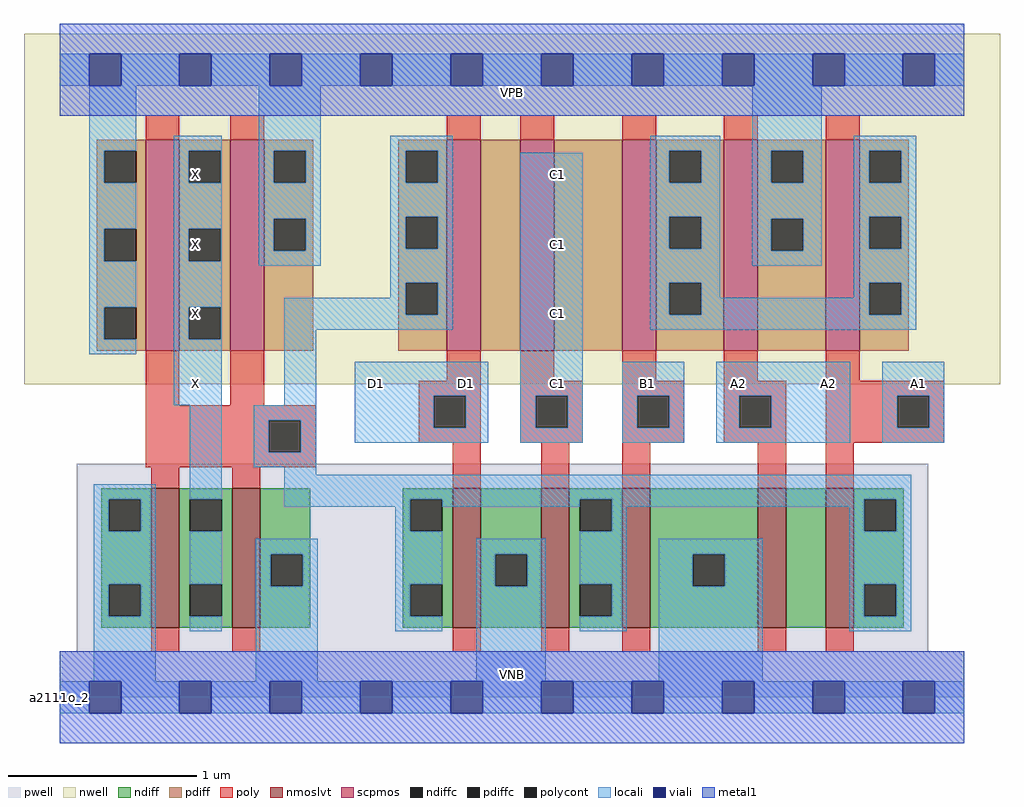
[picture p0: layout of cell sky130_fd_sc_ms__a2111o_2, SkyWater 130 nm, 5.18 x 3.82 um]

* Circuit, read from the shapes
.subckt sky130_fd_sc_ms__a2111o_2 A1 A2 B1 C1 D1 VGND VNB VPB VPWR X
XM1 X n1 VGND VNB sky130_fd_pr__nfet_01v8_lvt w=0.74 l=0.15 m=2
XM2 VGND D1 n1 VNB sky130_fd_pr__nfet_01v8_lvt w=0.74 l=0.15
XM3 n1 C1 VGND VNB sky130_fd_pr__nfet_01v8_lvt w=0.74 l=0.15
XM4 VGND B1 n1 VNB sky130_fd_pr__nfet_01v8_lvt w=0.74 l=0.15
XM5 n2 A2 VGND VNB sky130_fd_pr__nfet_01v8_lvt w=0.74 l=0.15
XM6 n1 A1 n2 VNB sky130_fd_pr__nfet_01v8_lvt w=0.74 l=0.15
XM7 X n1 VPWR VPB sky130_fd_pr__pfet_01v8 w=1.12 l=0.18 m=2
XM8 n3 D1 n1 VPB sky130_fd_pr__pfet_01v8 w=1.12 l=0.18
XM9 n4 C1 n3 VPB sky130_fd_pr__pfet_01v8 w=1.12 l=0.18
XM10 n5 B1 n4 VPB sky130_fd_pr__pfet_01v8 w=1.12 l=0.18
XM11 VPWR A2 n5 VPB sky130_fd_pr__pfet_01v8 w=1.12 l=0.18
XM12 n5 A1 VPWR VPB sky130_fd_pr__pfet_01v8 w=1.12 l=0.18
.ends

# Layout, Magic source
magic
tech sky130A
magscale 1 2
<< nwell >>
rect -38 332 998 704
<< pwell >>
rect 18 49 922 248
rect 0 0 960 49
<< scpmos >>
rect 91 368 127 592
rect 181 368 217 592
rect 411 368 447 592
rect 489 368 525 592
rect 597 368 633 592
rect 705 368 741 592
rect 813 368 849 592
<< nmoslvt >>
rect 97 74 127 222
rect 183 74 213 222
rect 417 74 447 222
rect 511 74 541 222
rect 597 74 627 222
rect 741 74 771 222
rect 813 74 843 222
<< ndiff >>
rect 44 210 97 222
rect 44 176 52 210
rect 86 176 97 210
rect 44 120 97 176
rect 44 86 52 120
rect 86 86 97 120
rect 44 74 97 86
rect 127 210 183 222
rect 127 176 138 210
rect 172 176 183 210
rect 127 120 183 176
rect 127 86 138 120
rect 172 86 183 120
rect 127 74 183 86
rect 213 152 266 222
rect 213 118 224 152
rect 258 118 266 152
rect 213 74 266 118
rect 364 210 417 222
rect 364 176 372 210
rect 406 176 417 210
rect 364 120 417 176
rect 364 86 372 120
rect 406 86 417 120
rect 364 74 417 86
rect 447 152 511 222
rect 447 118 462 152
rect 496 118 511 152
rect 447 74 511 118
rect 541 210 597 222
rect 541 176 552 210
rect 586 176 597 210
rect 541 120 597 176
rect 541 86 552 120
rect 586 86 597 120
rect 541 74 597 86
rect 627 152 741 222
rect 627 118 672 152
rect 706 118 741 152
rect 627 74 741 118
rect 771 74 813 222
rect 843 210 896 222
rect 843 176 854 210
rect 888 176 896 210
rect 843 120 896 176
rect 843 86 854 120
rect 888 86 896 120
rect 843 74 896 86
<< pdiff >>
rect 39 580 91 592
rect 39 546 47 580
rect 81 546 91 580
rect 39 497 91 546
rect 39 463 47 497
rect 81 463 91 497
rect 39 414 91 463
rect 39 380 47 414
rect 81 380 91 414
rect 39 368 91 380
rect 127 580 181 592
rect 127 546 137 580
rect 171 546 181 580
rect 127 497 181 546
rect 127 463 137 497
rect 171 463 181 497
rect 127 414 181 463
rect 127 380 137 414
rect 171 380 181 414
rect 127 368 181 380
rect 217 580 269 592
rect 217 546 227 580
rect 261 546 269 580
rect 217 508 269 546
rect 217 474 227 508
rect 261 474 269 508
rect 217 368 269 474
rect 359 580 411 592
rect 359 546 367 580
rect 401 546 411 580
rect 359 510 411 546
rect 359 476 367 510
rect 401 476 411 510
rect 359 440 411 476
rect 359 406 367 440
rect 401 406 411 440
rect 359 368 411 406
rect 447 368 489 592
rect 525 368 597 592
rect 633 580 705 592
rect 633 546 647 580
rect 681 546 705 580
rect 633 510 705 546
rect 633 476 647 510
rect 681 476 705 510
rect 633 440 705 476
rect 633 406 647 440
rect 681 406 705 440
rect 633 368 705 406
rect 741 580 813 592
rect 741 546 755 580
rect 789 546 813 580
rect 741 508 813 546
rect 741 474 755 508
rect 789 474 813 508
rect 741 368 813 474
rect 849 580 901 592
rect 849 546 859 580
rect 893 546 901 580
rect 849 510 901 546
rect 849 476 859 510
rect 893 476 901 510
rect 849 440 901 476
rect 849 406 859 440
rect 893 406 901 440
rect 849 368 901 406
<< ndiffc >>
rect 52 176 86 210
rect 52 86 86 120
rect 138 176 172 210
rect 138 86 172 120
rect 224 118 258 152
rect 372 176 406 210
rect 372 86 406 120
rect 462 118 496 152
rect 552 176 586 210
rect 552 86 586 120
rect 672 118 706 152
rect 854 176 888 210
rect 854 86 888 120
<< pdiffc >>
rect 47 546 81 580
rect 47 463 81 497
rect 47 380 81 414
rect 137 546 171 580
rect 137 463 171 497
rect 137 380 171 414
rect 227 546 261 580
rect 227 474 261 508
rect 367 546 401 580
rect 367 476 401 510
rect 367 406 401 440
rect 647 546 681 580
rect 647 476 681 510
rect 647 406 681 440
rect 755 546 789 580
rect 755 474 789 508
rect 859 546 893 580
rect 859 476 893 510
rect 859 406 893 440
<< poly >>
rect 91 592 127 618
rect 181 592 217 618
rect 411 592 447 618
rect 489 592 525 618
rect 597 592 633 618
rect 705 592 741 618
rect 813 592 849 618
rect 91 310 127 368
rect 181 310 217 368
rect 411 336 447 368
rect 381 320 447 336
rect 91 294 272 310
rect 91 260 222 294
rect 256 260 272 294
rect 381 286 397 320
rect 431 286 447 320
rect 381 270 447 286
rect 489 336 525 368
rect 597 336 633 368
rect 705 336 741 368
rect 813 336 849 368
rect 489 320 555 336
rect 489 286 505 320
rect 539 286 555 320
rect 489 270 555 286
rect 597 320 663 336
rect 597 286 613 320
rect 647 286 663 320
rect 597 270 663 286
rect 705 320 771 336
rect 705 286 721 320
rect 755 286 771 320
rect 705 270 771 286
rect 91 244 272 260
rect 97 222 127 244
rect 183 222 213 244
rect 417 222 447 270
rect 511 222 541 270
rect 597 222 627 270
rect 741 222 771 270
rect 813 320 939 336
rect 813 286 889 320
rect 923 286 939 320
rect 813 270 939 286
rect 813 222 843 270
rect 97 48 127 74
rect 183 48 213 74
rect 417 48 447 74
rect 511 48 541 74
rect 597 48 627 74
rect 741 48 771 74
rect 813 48 843 74
<< polycont >>
rect 222 260 256 294
rect 397 286 431 320
rect 505 286 539 320
rect 613 286 647 320
rect 721 286 755 320
rect 889 286 923 320
<< locali >>
rect 0 649 31 683
rect 65 649 127 683
rect 161 649 223 683
rect 257 649 319 683
rect 353 649 415 683
rect 449 649 511 683
rect 545 649 607 683
rect 641 649 703 683
rect 737 649 799 683
rect 833 649 895 683
rect 929 649 960 683
rect 31 580 81 649
rect 31 546 47 580
rect 31 497 81 546
rect 31 463 47 497
rect 31 414 81 463
rect 31 380 47 414
rect 31 364 81 380
rect 121 580 172 596
rect 121 546 137 580
rect 171 546 172 580
rect 121 497 172 546
rect 121 463 137 497
rect 171 463 172 497
rect 121 414 172 463
rect 211 580 277 649
rect 211 546 227 580
rect 261 546 277 580
rect 211 508 277 546
rect 211 474 227 508
rect 261 474 277 508
rect 211 458 277 474
rect 351 580 417 596
rect 351 546 367 580
rect 401 546 417 580
rect 627 580 701 596
rect 351 510 417 546
rect 351 476 367 510
rect 401 476 417 510
rect 351 440 417 476
rect 351 424 367 440
rect 121 380 137 414
rect 171 380 172 414
rect 121 310 172 380
rect 238 406 367 424
rect 401 406 417 440
rect 238 390 417 406
rect 238 310 272 390
rect 36 210 102 226
rect 36 176 52 210
rect 86 176 102 210
rect 36 120 102 176
rect 36 86 52 120
rect 86 86 102 120
rect 36 17 102 86
rect 138 210 172 310
rect 206 294 272 310
rect 206 260 222 294
rect 256 260 272 294
rect 313 320 455 356
rect 313 286 397 320
rect 431 286 455 320
rect 313 270 455 286
rect 489 320 555 578
rect 627 546 647 580
rect 681 546 701 580
rect 627 510 701 546
rect 627 476 647 510
rect 681 476 701 510
rect 627 440 701 476
rect 735 580 809 649
rect 735 546 755 580
rect 789 546 809 580
rect 735 508 809 546
rect 735 474 755 508
rect 789 474 809 508
rect 735 458 809 474
rect 843 580 909 596
rect 843 546 859 580
rect 893 546 909 580
rect 843 510 909 546
rect 843 476 859 510
rect 893 476 909 510
rect 627 406 647 440
rect 681 424 701 440
rect 843 440 909 476
rect 843 424 859 440
rect 681 406 859 424
rect 893 406 909 440
rect 627 390 909 406
rect 489 286 505 320
rect 539 286 555 320
rect 489 270 555 286
rect 597 320 663 356
rect 597 286 613 320
rect 647 286 663 320
rect 597 270 663 286
rect 697 320 839 356
rect 697 286 721 320
rect 755 286 839 320
rect 697 270 839 286
rect 873 320 939 356
rect 873 286 889 320
rect 923 286 939 320
rect 873 270 939 286
rect 206 244 272 260
rect 238 236 272 244
rect 238 210 904 236
rect 238 202 372 210
rect 138 120 172 176
rect 356 176 372 202
rect 406 202 552 210
rect 138 70 172 86
rect 208 152 274 168
rect 208 118 224 152
rect 258 118 274 152
rect 208 17 274 118
rect 356 120 406 176
rect 586 202 854 210
rect 586 176 602 202
rect 356 86 372 120
rect 356 70 406 86
rect 442 152 516 168
rect 442 118 462 152
rect 496 118 516 152
rect 442 17 516 118
rect 552 120 602 176
rect 838 176 854 202
rect 888 176 904 210
rect 586 86 602 120
rect 552 70 602 86
rect 636 152 746 168
rect 636 118 672 152
rect 706 118 746 152
rect 636 17 746 118
rect 838 120 904 176
rect 838 86 854 120
rect 888 86 904 120
rect 838 70 904 86
rect 0 -17 31 17
rect 65 -17 127 17
rect 161 -17 223 17
rect 257 -17 319 17
rect 353 -17 415 17
rect 449 -17 511 17
rect 545 -17 607 17
rect 641 -17 703 17
rect 737 -17 799 17
rect 833 -17 895 17
rect 929 -17 960 17
<< viali >>
rect 31 649 65 683
rect 127 649 161 683
rect 223 649 257 683
rect 319 649 353 683
rect 415 649 449 683
rect 511 649 545 683
rect 607 649 641 683
rect 703 649 737 683
rect 799 649 833 683
rect 895 649 929 683
rect 31 -17 65 17
rect 127 -17 161 17
rect 223 -17 257 17
rect 319 -17 353 17
rect 415 -17 449 17
rect 511 -17 545 17
rect 607 -17 641 17
rect 703 -17 737 17
rect 799 -17 833 17
rect 895 -17 929 17
<< metal1 >>
rect 0 683 960 715
rect 0 649 31 683
rect 65 649 127 683
rect 161 649 223 683
rect 257 649 319 683
rect 353 649 415 683
rect 449 649 511 683
rect 545 649 607 683
rect 641 649 703 683
rect 737 649 799 683
rect 833 649 895 683
rect 929 649 960 683
rect 0 617 960 649
rect 0 17 960 49
rect 0 -17 31 17
rect 65 -17 127 17
rect 161 -17 223 17
rect 257 -17 319 17
rect 353 -17 415 17
rect 449 -17 511 17
rect 545 -17 607 17
rect 641 -17 703 17
rect 737 -17 799 17
rect 833 -17 895 17
rect 929 -17 960 17
rect 0 -49 960 -17
<< labels >>
flabel pwell s 0 0 960 49 0 FreeSans 200 0 0 0 VNB
port 7 nsew ground bidirectional
flabel nwell s 0 617 960 666 0 FreeSans 200 0 0 0 VPB
port 8 nsew power bidirectional
rlabel comment s 0 0 0 0 4 a2111o_2
flabel metal1 s 0 617 960 666 0 FreeSans 340 0 0 0 VPWR
port 9 nsew power bidirectional
flabel metal1 s 0 0 960 49 0 FreeSans 340 0 0 0 VGND
port 6 nsew ground bidirectional
flabel locali s 319 316 353 350 0 FreeSans 340 0 0 0 D1
port 5 nsew signal input
flabel locali s 415 316 449 350 0 FreeSans 340 0 0 0 D1
port 5 nsew signal input
flabel locali s 511 316 545 350 0 FreeSans 340 0 0 0 C1
port 4 nsew signal input
flabel locali s 511 390 545 424 0 FreeSans 340 0 0 0 C1
port 4 nsew signal input
flabel locali s 511 464 545 498 0 FreeSans 340 0 0 0 C1
port 4 nsew signal input
flabel locali s 511 538 545 572 0 FreeSans 340 0 0 0 C1
port 4 nsew signal input
flabel locali s 607 316 641 350 0 FreeSans 340 0 0 0 B1
port 3 nsew signal input
flabel locali s 703 316 737 350 0 FreeSans 340 0 0 0 A2
port 2 nsew signal input
flabel locali s 799 316 833 350 0 FreeSans 340 0 0 0 A2
port 2 nsew signal input
flabel locali s 895 316 929 350 0 FreeSans 340 0 0 0 A1
port 1 nsew signal input
flabel locali s 127 316 161 350 0 FreeSans 340 0 0 0 X
port 10 nsew signal output
flabel locali s 127 390 161 424 0 FreeSans 340 0 0 0 X
port 10 nsew signal output
flabel locali s 127 464 161 498 0 FreeSans 340 0 0 0 X
port 10 nsew signal output
flabel locali s 127 538 161 572 0 FreeSans 340 0 0 0 X
port 10 nsew signal output
<< properties >>
string LEFsite unit
string LEFclass CORE
string FIXED_BBOX 0 0 960 666
string GDS_FILE $PDKPATH/libs.ref/sky130_fd_sc_ms/gds/sky130_fd_sc_ms.gds
string LEFsymmetry X Y
string GDS_END 42530
string GDS_START 33808
<< end >>
